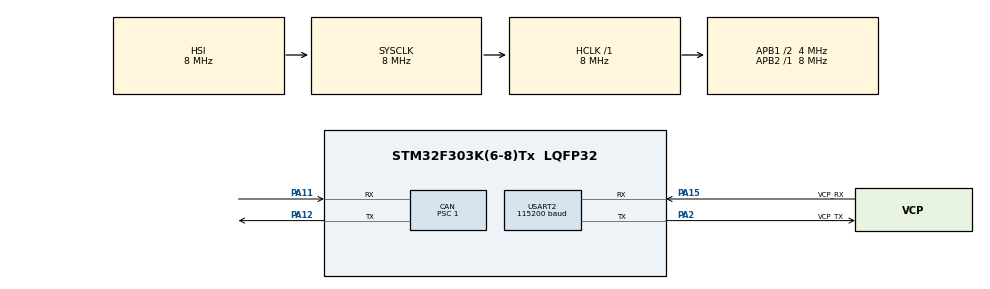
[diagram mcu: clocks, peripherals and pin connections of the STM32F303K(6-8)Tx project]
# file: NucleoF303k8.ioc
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CAN.BS1=CAN_BS1_2TQ
CAN.CalculateBaudRate=1000000
CAN.CalculateTimeBit=1000
CAN.CalculateTimeQuantum=250.0
CAN.Prescaler=1
Mcu.Family=STM32F3
Mcu.Name=STM32F303K(6-8)Tx
Mcu.Package=LQFP32
NVIC.CAN_RX0_IRQn=true\:0\:0\:false\:false\:true\:true\:true\:true
NVIC.PriorityGroup=NVIC_PRIORITYGROUP_4
NVIC.USART2_IRQn=true\:0\:0\:false\:false\:true\:true\:true\:true
PA11.Mode=CAN_Activate
PA11.Signal=CAN_RX
PA12.Mode=CAN_Activate
PA12.Signal=CAN_TX
PA13.GPIO_Label=SWDIO
PA13.Mode=Serial_Wire
PA13.Signal=SYS_JTMS-SWDIO
PA14.GPIO_Label=SWCLK
PA14.Mode=Serial_Wire
PA14.Signal=SYS_JTCK-SWCLK
PA15.GPIO_Label=VCP_RX
PA15.Mode=Asynchronous
PA15.Signal=USART2_RX
PA2.GPIO_Label=VCP_TX
PA2.Mode=Asynchronous
PA2.Signal=USART2_TX
PF0\ /\ OSC_IN.GPIO_Label=MCO
PF0\ /\ OSC_IN.Mode=HSE-External-Clock-Source
PF0\ /\ OSC_IN.Signal=RCC_OSC_IN
ProjectManager.HeapSize=0x200
ProjectManager.StackSize=0x400
ProjectManager.TargetToolchain=STM32CubeIDE
RCC.AHBFreq_Value=8000000
RCC.APB1CLKDivider=RCC_HCLK_DIV2
RCC.APB1Freq_Value=4000000
RCC.APB1TimFreq_Value=8000000
RCC.APB2Freq_Value=8000000
RCC.APB2TimFreq_Value=8000000
RCC.CortexFreq_Value=8000000
RCC.HCLKFreq_Value=8000000
RCC.HSE_VALUE=8000000
RCC.HSI_VALUE=8000000
RCC.PLLMUL=RCC_PLL_MUL8
RCC.PLLSourceVirtual=RCC_PLLSOURCE_HSE
RCC.SYSCLKFreq_VALUE=8000000
USART2.BaudRate=115200
USART2.VirtualMode-Asynchronous=VM_ASYNC
board=NUCLEO-F303K8

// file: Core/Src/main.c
/* USER CODE BEGIN Header */
/**
  ******************************************************************************
  * @file           : main.c
  * @brief          : Main program body
  ******************************************************************************
  * @attention
  *
  * Copyright (c) 2026 STMicroelectronics.
  * All rights reserved.
  *
  * This software is licensed under terms that can be found in the LICENSE file
  * in the root directory of this software component.
  * If no LICENSE file comes with this software, it is provided AS-IS.
  *
  ******************************************************************************
  */
/* USER CODE END Header */
#include "main.h"

/* USER CODE BEGIN Includes */
#include "stdbool.h"
/* USER CODE END Includes */

/* USER CODE BEGIN PTD */
CAN_TxHeaderTypeDef TxHeader;
/* USER CODE END PTD */

CAN_HandleTypeDef hcan;

UART_HandleTypeDef huart2;

/* USER CODE BEGIN PV */
uint32_t TxMailbox;
uint8_t TxData[8];
uint32_t CanRxIde;
uint32_t CanRxId;
uint32_t CanRxDlc;
uint8_t  CanRxData[8] = {0,1,2,3,4,5,6,7};
bool CanRxFlag = false;

/*PCから来る*/
uint8_t RxChar;
char RxBuffer[32];
int RxIndex=0;
bool CanTxFlag = false;
uint32_t CanTxIde;
uint32_t CanTxId;
uint32_t CanTxDlc;
uint8_t  CanTxData[8] = {0,1,2,3,4,5,6,7};

int cnt;
/* USER CODE END PV */

void SystemClock_Config(void);
static void MX_GPIO_Init(void);
static void MX_USART2_UART_Init(void);
static void MX_CAN_Init(void);
/* USER CODE BEGIN PFP */
void HAL_CAN_RxFifo0MsgPendingCallback(CAN_HandleTypeDef *hcan)
{
    CAN_RxHeaderTypeDef RxHeader;
    uint8_t RxData[8];
    if (HAL_CAN_GetRxMessage(hcan, CAN_RX_FIFO0, &RxHeader, RxData) == HAL_OK)
    {
    	CanRxIde = RxHeader.IDE;
        CanRxId = (RxHeader.IDE == CAN_ID_STD)? RxHeader.StdId : RxHeader.ExtId;     // ID
        CanRxDlc = RxHeader.DLC;                                   // DLC
        CanRxData[0] = RxData[0];                                                // Data
        CanRxData[1] = RxData[1];
        CanRxData[2] = RxData[2];
        CanRxData[3] = RxData[3];
        CanRxData[4] = RxData[4];
        CanRxData[5] = RxData[5];
        CanRxData[6] = RxData[6];
        CanRxData[7] = RxData[7];
        CanRxFlag = true;
    }
}

void HAL_UART_RxCpltCallback(UART_HandleTypeDef *huart){
	if(huart->Instance==USART2){
		if(RxChar == '\r'){
			RxBuffer[RxIndex]='\0';
			CanTxFlag = true;
			RxIndex = 0;
		}else{
			if(RxIndex < 31){
				RxBuffer[RxIndex] = RxChar;
				RxIndex++;
			}
		}
		HAL_UART_Receive_IT(&huart2, &RxChar,1);
	}
}

uint32_t parseHex(char* str, int len){
	uint32_t val = 0;
	for(int i = 0;i<len;i++){
		char c = str[i];
		uint8_t v = 0;
		if(c >= '0' && c<= '9') v = c - '0';//数字に変換
		else if(c >= 'A' && c <= 'F') v = c - 'A' + 10;//大文字の16進数も10進数に変換
		else if(c >= 'a' && c <= 'f') v = c - 'a' + 10;//小文字の16進数も10進数に変換
		val = (val << 4) | v;
	}
	return val;
}
/* USER CODE END PFP */

int main(void)
{

  /* MCU Configuration--------------------------------------------------------*/

  /* Reset of all peripherals, Initializes the Flash interface and the Systick. */
  HAL_Init();

  /* Configure the system clock */
  SystemClock_Config();

  /* Initialize all configured peripherals */
  MX_GPIO_Init();
  MX_USART2_UART_Init();
  MX_CAN_Init();
  /* USER CODE BEGIN 2 */
  CAN_FilterTypeDef filter;
  uint32_t fId   = 0x0000;        // フィルターID
  uint32_t fMask = 0x0000; // フィルターマスク

  filter.FilterIdHigh         = fId >> 16;             // フィルターIDの上位16ビット
  filter.FilterIdLow          = fId;                   // フィルターIDの下位16ビット
  filter.FilterMaskIdHigh     = fMask >> 16;           // フィルターマスクの上位16ビット
  filter.FilterMaskIdLow      = fMask;                 // フィルターマスクの下位16ビット
  filter.FilterScale          = CAN_FILTERSCALE_32BIT; // 32モード
  filter.FilterFIFOAssignment = CAN_FILTER_FIFO0;      // FIFO0へ格納
  filter.FilterBank           = 0;
  filter.FilterMode           = CAN_FILTERMODE_IDMASK; // IDマスクモード
  filter.SlaveStartFilterBank = 14;
  filter.FilterActivation     = ENABLE;

  HAL_CAN_ConfigFilter(&hcan, &filter);
  HAL_CAN_Start(&hcan);
  HAL_CAN_ActivateNotification(&hcan, CAN_IT_RX_FIFO0_MSG_PENDING);
  HAL_UART_Receive_IT(&huart2, &RxChar, 1);
  /* USER CODE END 2 */

  /* Infinite loop */
  /* USER CODE BEGIN WHILE */
  while (1)
  {
//	  if(0 < HAL_CAN_GetTxMailboxesFreeLevel(&hcan)){//もしメールボックスに空きがあれば
//	      TxHeader.StdId = 0x750;                 // CAN ID
//	      TxHeader.RTR = CAN_RTR_DATA;            // フレームタイプはデータフレーム
//	      TxHeader.IDE = CAN_ID_STD;              // 標準ID(11ﾋﾞｯﾄ)
//	      TxHeader.DLC = 8;                       // データ長は8バイトに
//	      TxHeader.TransmitGlobalTime = DISABLE;  // ???
//	      TxData[0] = 0x11;//送信データを格納
//	      TxData[1] = 0x22;
//	      TxData[2] = 0x33;
//	      TxData[3] = 0x44;
//	      TxData[4] = 0x55;
//	      TxData[5] = 0x66;
//	      TxData[6] = 0x77;
//	      TxData[7] = 0x88;
//	      HAL_CAN_AddTxMessage(&hcan, &TxHeader, TxData, &TxMailbox);//TxDataをTxHeaderの設定通りに送信する
//	  }
	  if(CanRxFlag){
		  char txBuffer[32];
		  int index = 0;
		  if(CanRxIde==CAN_ID_STD){
			  index += sprintf(&txBuffer[index], "t%03lX%lu", CanRxId, CanRxDlc);
		  }else{
			  index += sprintf(&txBuffer[index], "T%08lX%lu", CanRxId, CanRxDlc);
		  }
		  for(int i = 0;i<CanRxDlc;i++){
			  index += sprintf(&txBuffer[index], "%02X", CanRxData[i]);
		  }
		  txBuffer[index++] = '\r';
		  txBuffer[index] = '\0';

		  HAL_UART_Transmit(&huart2, (uint8_t*)txBuffer, index, 100);
		  CanRxFlag=false;
	  }

	  if(CanTxFlag){
		  if(RxBuffer[0]=='t'){
			  TxHeader.IDE = CAN_ID_STD;
			  TxHeader.StdId = parseHex(&RxBuffer[1],3);
			  TxHeader.DLC = parseHex(&RxBuffer[4],1);
			  for(int i = 0; i < TxHeader.DLC;i++){
				  TxData[i] = (uint8_t)parseHex(&RxBuffer[5 + (i * 2)], 2);
			  }
		  }else if(RxBuffer[0] == 'T'){
			  TxHeader.IDE = CAN_ID_EXT;
			  TxHeader.ExtId = parseHex(&RxBuffer[1],8);
			  TxHeader.DLC = parseHex(&RxBuffer[9],1);
			  for(int i = 0; i < TxHeader.DLC;i++){
				  TxData[i] = (uint8_t)parseHex(&RxBuffer[10 + (i * 2)], 2);
			  }
		  }
		  TxHeader.RTR = CAN_RTR_DATA;
		  TxHeader.TransmitGlobalTime = DISABLE;
		  if(0 < HAL_CAN_GetTxMailboxesFreeLevel(&hcan)){
			  HAL_CAN_AddTxMessage(&hcan, &TxHeader, TxData, &TxMailbox);
		  }
		  CanTxFlag = false;
	  }
	  HAL_Delay(1);
    /* USER CODE END WHILE */

  }
}

void SystemClock_Config(void)
{
  RCC_OscInitTypeDef RCC_OscInitStruct = {0};
  RCC_ClkInitTypeDef RCC_ClkInitStruct = {0};

  /** Initializes the RCC Oscillators according to the specified parameters
  * in the RCC_OscInitTypeDef structure.
  */
  RCC_OscInitStruct.OscillatorType = RCC_OSCILLATORTYPE_HSI;
  RCC_OscInitStruct.HSIState = RCC_HSI_ON;
  RCC_OscInitStruct.HSICalibrationValue = RCC_HSICALIBRATION_DEFAULT;
  RCC_OscInitStruct.PLL.PLLState = RCC_PLL_NONE;
  if (HAL_RCC_OscConfig(&RCC_OscInitStruct) != HAL_OK)
  {
    Error_Handler();
  }

  /** Initializes the CPU, AHB and APB buses clocks
  */
  RCC_ClkInitStruct.ClockType = RCC_CLOCKTYPE_HCLK|RCC_CLOCKTYPE_SYSCLK
                              |RCC_CLOCKTYPE_PCLK1|RCC_CLOCKTYPE_PCLK2;
  RCC_ClkInitStruct.SYSCLKSource = RCC_SYSCLKSOURCE_HSI;
  RCC_ClkInitStruct.AHBCLKDivider = RCC_SYSCLK_DIV1;
  RCC_ClkInitStruct.APB1CLKDivider = RCC_HCLK_DIV2;
  RCC_ClkInitStruct.APB2CLKDivider = RCC_HCLK_DIV1;

  if (HAL_RCC_ClockConfig(&RCC_ClkInitStruct, FLASH_LATENCY_0) != HAL_OK)
  {
    Error_Handler();
  }
}

static void MX_CAN_Init(void)
{

  hcan.Instance = CAN;
  hcan.Init.Prescaler = 1;
  hcan.Init.Mode = CAN_MODE_NORMAL;
  hcan.Init.SyncJumpWidth = CAN_SJW_1TQ;
  hcan.Init.TimeSeg1 = CAN_BS1_2TQ;
  hcan.Init.TimeSeg2 = CAN_BS2_1TQ;
  hcan.Init.TimeTriggeredMode = DISABLE;
  hcan.Init.AutoBusOff = DISABLE;
  hcan.Init.AutoWakeUp = DISABLE;
  hcan.Init.AutoRetransmission = DISABLE;
  hcan.Init.ReceiveFifoLocked = DISABLE;
  hcan.Init.TransmitFifoPriority = DISABLE;
  if (HAL_CAN_Init(&hcan) != HAL_OK)
  {
    Error_Handler();
  }

}

static void MX_USART2_UART_Init(void)
{

  huart2.Instance = USART2;
  huart2.Init.BaudRate = 115200;
  huart2.Init.WordLength = UART_WORDLENGTH_8B;
  huart2.Init.StopBits = UART_STOPBITS_1;
  huart2.Init.Parity = UART_PARITY_NONE;
  huart2.Init.Mode = UART_MODE_TX_RX;
  huart2.Init.HwFlowCtl = UART_HWCONTROL_NONE;
  huart2.Init.OverSampling = UART_OVERSAMPLING_16;
  huart2.Init.OneBitSampling = UART_ONE_BIT_SAMPLE_DISABLE;
  huart2.AdvancedInit.AdvFeatureInit = UART_ADVFEATURE_NO_INIT;
  if (HAL_UART_Init(&huart2) != HAL_OK)
  {
    Error_Handler();
  }

}

static void MX_GPIO_Init(void)
{

  /* GPIO Ports Clock Enable */
  __HAL_RCC_GPIOF_CLK_ENABLE();
  __HAL_RCC_GPIOA_CLK_ENABLE();

}

void Error_Handler(void)
{
  __disable_irq();
  while (1)
  {
  }
}
